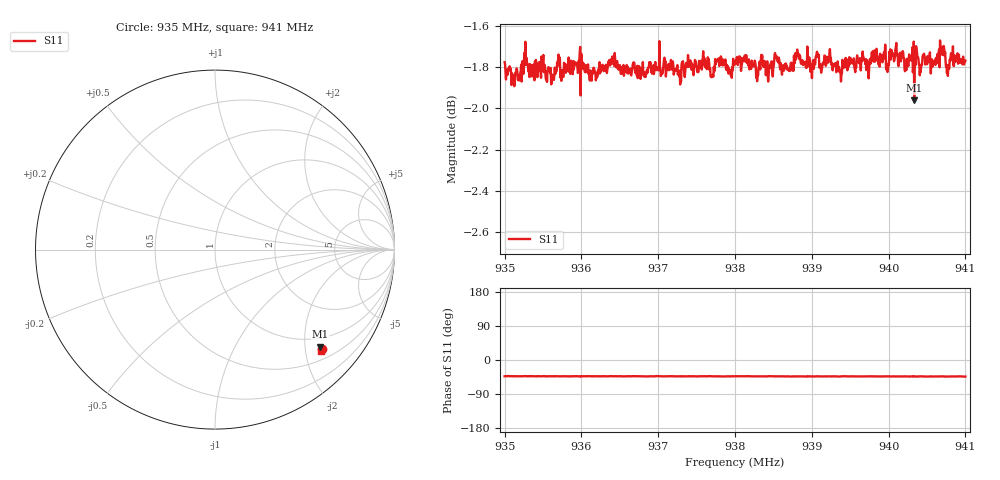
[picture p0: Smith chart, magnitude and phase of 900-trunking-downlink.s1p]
! Calibrated averaged scanner-service zoom
# Hz S RI R 50
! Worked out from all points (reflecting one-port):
!   1001 points, 935 MHz to 941 MHz, reference 50 ohm
!   lowest |S11| = -2.0 dB at 940.334 MHz (marker M1), VSWR 8.90, Z = 39.1 - j117 ohm
!   phase of S11 starts at -43 deg and turns -1 deg over the sweep
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9.35e8  0.5968 -0.5552
9.35156e8  0.5951 -0.5529
9.35282e8  0.6023 -0.5525
9.3575e8  0.5919 -0.5553
9.36224e8  0.5932 -0.5516
9.3641e8  0.5967 -0.5553
9.365e8  0.5982 -0.5517
9.36698e8  0.5971 -0.5511
9.36836e8  0.5893 -0.5535
9.36986e8  0.5967 -0.5515
9.3725e8  0.5954 -0.5547
9.37574e8  0.5969 -0.5552
9.3794e8  0.5895 -0.5562
9.38e8  0.5968 -0.5545
9.38366e8  0.596 -0.5563
9.38462e8  0.5994 -0.5513
9.3854e8  0.5972 -0.5589
9.3875e8  0.592 -0.5549
9.39218e8  0.5941 -0.5587
9.39356e8  0.5887 -0.5604
9.39422e8  0.596 -0.5567
9.395e8  0.5924 -0.5587
9.4025e8  0.5921 -0.5615
9.40334e8  0.5863 -0.5414
9.407e8  0.5965 -0.5604
9.4076e8  0.5883 -0.5571
9.4091e8  0.5938 -0.56
9.41e8  0.5903 -0.5633
